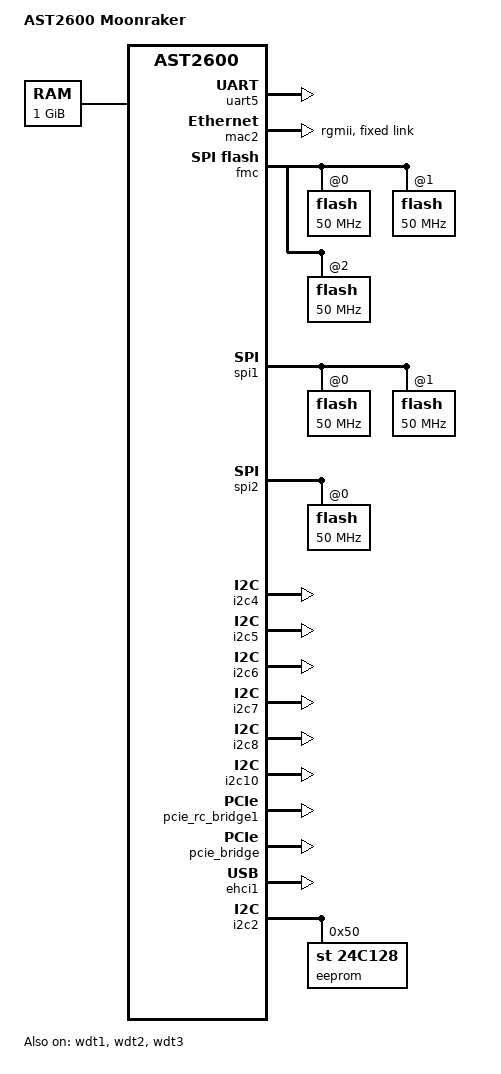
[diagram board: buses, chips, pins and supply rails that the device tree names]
// SPDX-License-Identifier: GPL-2.0
/*
 * Device Tree Source extras for U-Boot for the Moonraker
 * Copyright (C) Nvidia
 */
/dts-v1/;

#include "ast2600-u-boot.dtsi"

/ {
	model = "AST2600 Moonraker";
	compatible = "aspeed,ast2600-evb", "aspeed,ast2600";
	config {
		bootdelay = <(-2)>;
		bootsecure = <1>;
		bootcmd = "boot";
	};
	memory {
		device_type = "memory";
		reg = <0x80000000 0x40000000>;
	};

	chosen {
		stdout-path = &uart5;
	};

	aliases {
		mmc0 = &emmc_slot0;
		mmc1 = &sdhci_slot0;
		mmc2 = &sdhci_slot1;
		spi0 = &fmc;
		spi1 = &spi1;
		spi2 = &spi2;
		ethernet0 = &mac0;
		ethernet1 = &mac1;
		ethernet2 = &mac2;
		ethernet3 = &mac3;
	};

	cpus {
		cpu@0 {
			clock-frequency = <800000000>;
		};
		cpu@1 {
			clock-frequency = <800000000>;
		};
	};
};

&uart5 {
	u-boot,dm-pre-reloc;
	status = "okay";
};

&sdrammc {
	clock-frequency = <400000000>;
};

&wdt1 {
	status = "okay";
};

&wdt2 {
	status = "okay";
};

&wdt3 {
	status = "okay";
};
&mac2 {
	status = "okay";
	phy-mode = "rgmii";
	pinctrl-names = "default";
	pinctrl-0 = <&pinctrl_rgmii3_default &pinctrl_mac3link_default>;
	fixed-link {
		speed = <1000>;
		full-duplex;
	};
};

&fmc {
	status = "okay";

	pinctrl-names = "default";
	pinctrl-0 = <&pinctrl_fmcquad_default>;

	flash@0 {
		status = "okay";
		spi-max-frequency = <50000000>;
		spi-tx-bus-width = <4>;
		spi-rx-bus-width = <4>;
	};

	flash@1 {
		status = "okay";
		spi-max-frequency = <50000000>;
		spi-tx-bus-width = <4>;
		spi-rx-bus-width = <4>;
	};

	flash@2 {
		status = "okay";
		spi-max-frequency = <50000000>;
		spi-tx-bus-width = <4>;
		spi-rx-bus-width = <4>;
	};
};

&spi1 {
	status = "okay";

	pinctrl-names = "default";
	pinctrl-0 = <&pinctrl_spi1_default &pinctrl_spi1abr_default
			&pinctrl_spi1cs1_default &pinctrl_spi1wp_default
			&pinctrl_spi1wp_default &pinctrl_spi1quad_default>;

	flash@0 {
		status = "okay";
		spi-max-frequency = <50000000>;
		spi-tx-bus-width = <4>;
		spi-rx-bus-width = <4>;
	};

	flash@1 {
		status = "okay";
		spi-max-frequency = <50000000>;
		spi-tx-bus-width = <4>;
		spi-rx-bus-width = <4>;
	};
};

&spi2 {
	status = "okay";

	pinctrl-names = "default";
	pinctrl-0 = <&pinctrl_spi2_default &pinctrl_spi2cs1_default
			&pinctrl_spi2cs2_default &pinctrl_spi2quad_default>;

	reg = <0x1e631000 0xc4
	       0x50000000 0x10200000>;

	flash@0 {
		status = "okay";
		spi-max-frequency = <50000000>;
		spi-tx-bus-width = <4>;
		spi-rx-bus-width = <4>;
	};

};

&i2c4 {
	status = "okay";

	pinctrl-names = "default";
	pinctrl-0 = <&pinctrl_i2c5_default>;
};

&i2c5 {
	status = "okay";

	pinctrl-names = "default";
	pinctrl-0 = <&pinctrl_i2c6_default>;
};

&i2c6 {
	status = "okay";

	pinctrl-names = "default";
	pinctrl-0 = <&pinctrl_i2c7_default>;
};

&i2c7 {
	status = "okay";

	pinctrl-names = "default";
	pinctrl-0 = <&pinctrl_i2c8_default>;
};

&i2c8 {
	status = "okay";

	pinctrl-names = "default";
	pinctrl-0 = <&pinctrl_i2c9_default>;
};

&i2c10 {
	status = "okay";

	pinctrl-names = "default";
	pinctrl-0 = <&pinctrl_i2c11_default>;
};

&pcie_rc_bridge1 {
	status = "okay";
};

&pcie_bridge {
	status = "okay";
};

&ehci1 {
	status = "okay";
};

&scu {
	mac0-clk-delay = <0x10 0x0a
			  0x10 0x10
			  0x10 0x10>;
	mac1-clk-delay = <0x10 0x0a
			  0x10 0x10
			  0x10 0x10>;
	mac2-clk-delay = <0x08 0x04
			  0x08 0x04
			  0x08 0x04>;
	mac3-clk-delay = <0x08 0x04
			  0x08 0x04
			  0x08 0x04>;
};

&scu {
	mac2-clk-delay = <0x08 0x00
			  0x08 0x00
			  0x08 0x00>;
};

&i2c2 {
	status = "okay";
	eeprom@50 {
		compatible = "st,24c128", "atmel,24c128";
		reg = <0x50>;
		pagesize = <64>;
		offset_len = <2>;
		eth2macoffset = <0xff 0xff 0x79 0xff 0xff 0xff>;
	};
};
